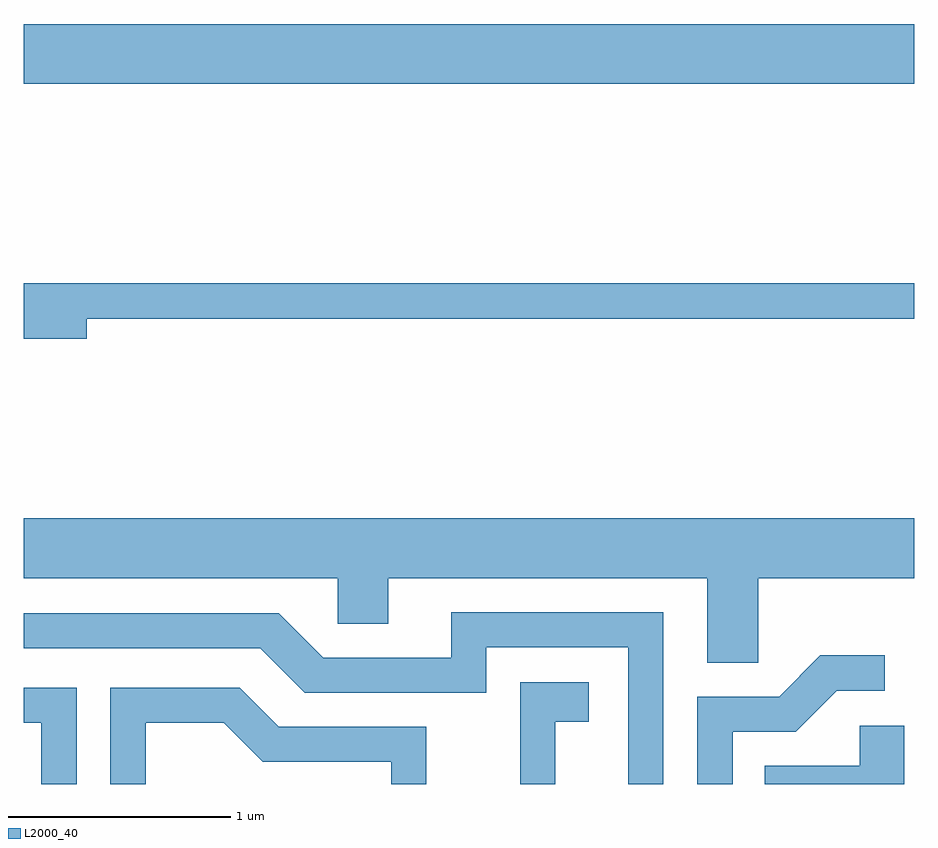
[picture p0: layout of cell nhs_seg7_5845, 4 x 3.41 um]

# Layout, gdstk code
import gdstk
lib = gdstk.Library(unit=1e-6, precision=1e-09)
def R(c, l, rs):  # rectangles x0, y0, x1, y1
    for r in rs: c.add(gdstk.rectangle(r[:2], r[2:], *l))
def P(c, l, *ps):  # polygons
    for p in ps: c.add(gdstk.Polygon(p, *l))
L2000_40 = (2000, 40)

nhs_seg7_5845 = lib.new_cell('nhs_seg7_5845')
R(nhs_seg7_5845, L2000_40, [(363.611,1745.396,367.611,1745.664)])
P(nhs_seg7_5845, L2000_40, [(363.894,1744.341),(367.611,1744.341),(367.611,1744.499),(363.611,1744.499),(363.611,1744.251),(363.894,1744.251)],
  [(366.909,1743.176),(367.611,1743.176),(367.611,1743.444),(363.611,1743.444),(363.611,1743.176),(365.021,1743.176),(365.021,1742.971),(365.249,1742.971),(365.249,1743.176),(366.681,1743.176),(366.681,1742.796),(366.909,1742.796)],
  [(366.484,1743.024),(365.531,1743.024),(365.531,1742.819),(364.957,1742.819),(364.757,1743.019),(363.611,1743.019),(363.611,1742.861),(364.674,1742.861),(364.874,1742.661),(365.689,1742.661),(365.689,1742.866),(366.326,1742.866),(366.326,1742.252),(366.484,1742.252)],
  [(366.794,1742.486),(367.077,1742.486),(367.262,1742.671),(367.478,1742.671),(367.478,1742.829),(367.189,1742.829),(367.004,1742.644),(366.636,1742.644),(366.636,1742.252),(366.794,1742.252)],
  [(365.999,1742.531),(366.149,1742.531),(366.149,1742.709),(365.841,1742.709),(365.841,1742.252),(365.999,1742.252)],
  [(364.159,1742.526),(364.509,1742.526),(364.684,1742.351),(365.261,1742.351),(365.261,1742.252),(365.419,1742.252),(365.419,1742.509),(364.757,1742.509),(364.582,1742.684),(364.001,1742.684),(364.001,1742.252),(364.159,1742.252)],
  [(363.849,1742.684),(363.613,1742.684),(363.613,1742.526),(363.691,1742.526),(363.691,1742.252),(363.849,1742.252)],
  [(367.564,1742.514),(367.366,1742.514),(367.366,1742.334),(366.938,1742.334),(366.938,1742.252),(367.564,1742.252)])

lib.write_gds('nhs_seg7_5845.gds')
